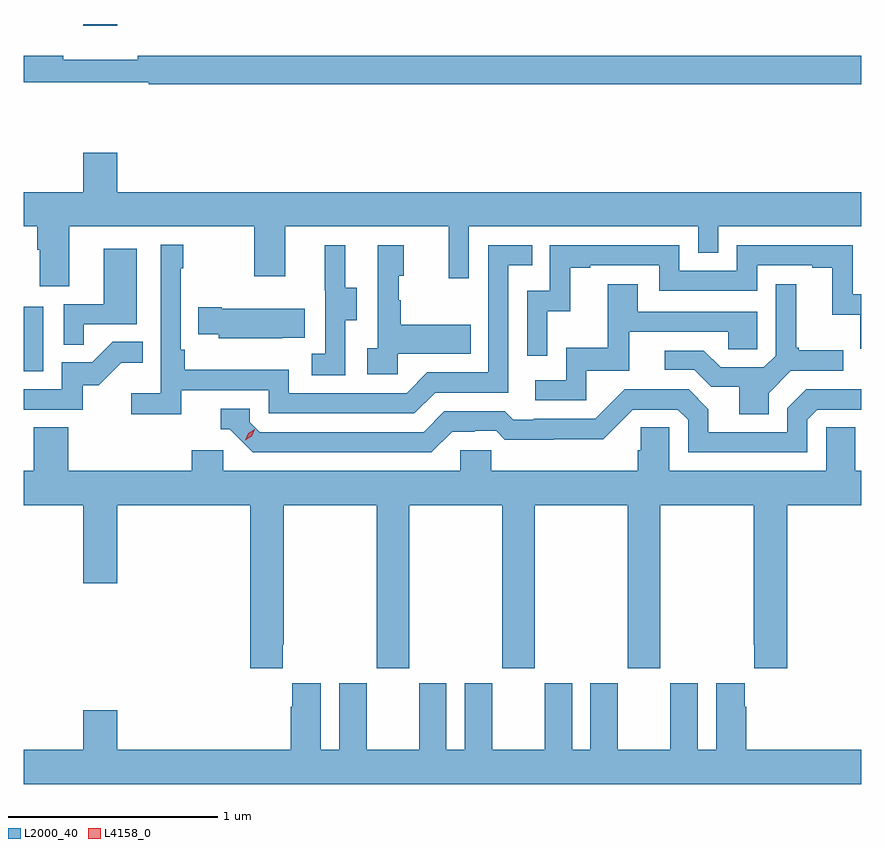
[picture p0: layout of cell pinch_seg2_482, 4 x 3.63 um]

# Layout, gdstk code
import gdstk
lib = gdstk.Library(unit=1e-6, precision=1e-09)
def R(c, l, rs):  # rectangles x0, y0, x1, y1
    for r in rs: c.add(gdstk.rectangle(r[:2], r[2:], *l))
def P(c, l, *ps):  # polygons
    for p in ps: c.add(gdstk.Polygon(p, *l))
L2000_40 = (2000, 40)
L4158_0 = (4158, 0)

pinch_seg2_482 = lib.new_cell('pinch_seg2_482')
R(pinch_seg2_482, L2000_40, [(919.969,602.988,920.062,603.295), (920.252,604.638,920.416,604.647)])
P(pinch_seg2_482, L2000_40, [(923.969,604.496),(920.512,604.496),(920.512,604.477),(920.156,604.477),(920.156,604.496),(919.969,604.496),(919.969,604.368),(920.566,604.368),(920.566,604.36),(923.969,604.36)],
  [(920.416,604.033),(920.252,604.033),(920.252,603.844),(919.969,603.844),(919.969,603.68),(920.033,603.68),(920.033,603.568),(920.045,603.568),(920.045,603.394),(920.185,603.394),(920.185,603.68),(921.07,603.68),(921.07,603.441),(921.217,603.441),(921.217,603.68),(921.998,603.68),(921.998,603.432),(922.095,603.432),(922.095,603.68),(923.19,603.68),(923.19,603.553),(923.286,603.553),(923.286,603.68),(923.969,603.68),(923.969,603.844),(920.416,603.844)],
  [(920.72,602.898),(921.138,602.898),(921.138,602.787),(921.835,602.787),(921.934,602.886),(922.284,602.886),(922.284,603.495),(922.397,603.495),(922.397,603.591),(922.188,603.591),(922.188,602.982),(921.897,602.982),(921.798,602.883),(921.234,602.883),(921.234,602.995),(920.738,602.995),(920.738,603.091),(920.718,603.091),(920.718,603.479),(920.731,603.479),(920.731,603.592),(920.622,603.592),(920.622,602.884),(920.481,602.884),(920.481,602.782),(920.72,602.782)],
  [(922.47,603.275),(922.58,603.275),(922.58,603.483),(922.675,603.483),(922.675,603.495),(923.004,603.495),(923.004,603.372),(923.472,603.372),(923.472,603.495),(923.735,603.495),(923.735,603.483),(923.831,603.483),(923.831,603.257),(923.964,603.257),(923.964,603.096),(923.969,603.096),(923.969,603.355),(923.928,603.355),(923.928,603.591),(923.376,603.591),(923.376,603.468),(923.1,603.468),(923.1,603.591),(922.482,603.591),(922.482,603.372),(922.374,603.372),(922.374,603.063),(922.47,603.063)],
  [(921.504,603.232),(921.559,603.232),(921.559,603.387),(921.505,603.387),(921.505,603.589),(921.407,603.589),(921.407,603.375),(921.408,603.375),(921.408,603.071),(921.345,603.071),(921.345,602.968),(921.504,602.968)],
  [(921.756,603.071),(922.103,603.071),(922.103,603.211),(921.769,603.211),(921.769,603.326),(921.759,603.326),(921.759,603.444),(921.784,603.444),(921.784,603.589),(921.66,603.589),(921.66,603.098),(921.609,603.098),(921.609,602.973),(921.756,602.973)],
  [(920.255,603.213),(920.509,603.213),(920.509,603.574),(920.351,603.574),(920.351,603.309),(920.16,603.309),(920.16,603.115),(920.255,603.115)],
  [(923.527,602.884),(923.634,602.991),(923.884,602.991),(923.884,603.088),(923.671,603.088),(923.671,603.1),(923.659,603.1),(923.659,603.403),(923.562,603.403),(923.562,603.063),(923.505,603.006),(923.299,603.006),(923.218,603.087),(923.031,603.087),(923.031,602.994),(923.172,602.994),(923.252,602.914),(923.387,602.914),(923.387,602.782),(923.527,602.782)],
  [(922.656,602.991),(922.861,602.991),(922.861,603.177),(923.335,603.177),(923.335,603.093),(923.472,603.093),(923.472,603.273),(922.903,603.273),(922.903,603.403),(922.759,603.403),(922.759,603.1),(922.56,603.1),(922.56,602.946),(922.413,602.946),(922.413,602.85),(922.656,602.85)],
  [(921.203,603.149),(921.311,603.149),(921.311,603.286),(920.914,603.286),(920.914,603.294),(920.803,603.294),(920.803,603.164),(920.901,603.164),(920.901,603.146),(921.203,603.146)],
  [(920.25,602.922),(920.326,602.922),(920.433,603.029),(920.537,603.029),(920.537,603.128),(920.393,603.128),(920.295,603.03),(920.151,603.03),(920.151,602.901),(919.969,602.901),(919.969,602.805),(920.25,602.805)],
  [(922.015,602.7),(922.122,602.7),(922.122,602.703),(922.225,602.703),(922.267,602.661),(922.5,602.661),(922.5,602.663),(922.736,602.663),(922.878,602.805),(923.094,602.805),(923.142,602.757),(923.142,602.601),(923.712,602.601),(923.712,602.757),(923.76,602.805),(923.969,602.805),(923.969,602.903),(923.922,602.903),(923.922,602.901),(923.706,602.901),(923.616,602.811),(923.616,602.697),(923.239,602.697),(923.239,602.807),(923.145,602.901),(922.839,602.901),(922.698,602.76),(922.405,602.76),(922.405,602.757),(922.306,602.757),(922.267,602.796),(921.978,602.796),(921.879,602.697),(921.096,602.697),(921.048,602.745),(921.048,602.808),(920.909,602.808),(920.909,602.712),(920.952,602.712),(921.063,602.601),(921.916,602.601)],
  [(921.205,601.681),(921.21,601.681),(921.21,602.348),(921.655,602.348),(921.655,601.569),(921.81,601.569),(921.81,602.348),(922.255,602.348),(922.255,601.569),(922.41,601.569),(922.41,602.348),(922.855,602.348),(922.855,601.569),(923.01,601.569),(923.01,602.348),(923.455,602.348),(923.455,601.681),(923.459,601.681),(923.459,601.569),(923.615,601.569),(923.615,602.348),(923.969,602.348),(923.969,602.512),(923.941,602.512),(923.941,602.72),(923.802,602.72),(923.802,602.512),(923.052,602.512),(923.052,602.72),(922.915,602.72),(922.915,602.61),(922.901,602.61),(922.901,602.512),(922.203,602.512),(922.203,602.61),(922.053,602.61),(922.053,602.512),(920.922,602.512),(920.922,602.61),(920.771,602.61),(920.771,602.512),(920.18,602.512),(920.18,602.72),(920.015,602.72),(920.015,602.512),(919.969,602.512),(919.969,602.348),(920.252,602.348),(920.252,601.974),(920.416,601.974),(920.416,602.348),(921.05,602.348),(921.05,601.569),(921.205,601.569)],
  [(923.969,601.18),(923.42,601.18),(923.42,601.385),(923.413,601.385),(923.413,601.498),(923.276,601.498),(923.276,601.18),(923.188,601.18),(923.188,601.498),(923.057,601.498),(923.057,601.18),(922.807,601.18),(922.807,601.498),(922.676,601.498),(922.676,601.18),(922.588,601.18),(922.588,601.498),(922.457,601.498),(922.457,601.18),(922.207,601.18),(922.207,601.498),(922.076,601.498),(922.076,601.18),(921.988,601.18),(921.988,601.498),(921.857,601.498),(921.857,601.18),(921.607,601.18),(921.607,601.498),(921.476,601.498),(921.476,601.18),(921.388,601.18),(921.388,601.498),(921.251,601.498),(921.251,601.385),(921.245,601.385),(921.245,601.18),(920.416,601.18),(920.416,601.369),(920.252,601.369),(920.252,601.18),(919.969,601.18),(919.969,601.016),(923.969,601.016)])
P(pinch_seg2_482, L4158_0, [(921.026,602.658),(921.026,602.658),(921.041,602.691),(921.072,602.711),(921.072,602.711),(921.072,602.711),(921.057,602.678),(921.026,602.658)])

lib.write_gds('pinch_seg2_482.gds')
